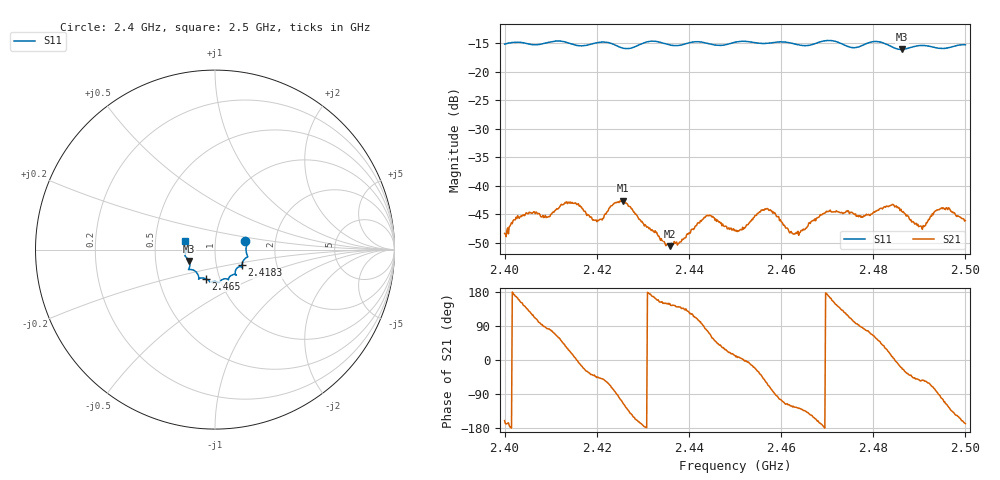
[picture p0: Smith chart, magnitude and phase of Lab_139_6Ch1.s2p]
# Hz S RI R 50
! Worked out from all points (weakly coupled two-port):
!   601 points, 2.4 GHz to 2.5 GHz, reference 50 ohm
!   highest |S21| = -42.62 dB at 2.4257 GHz (marker M1); lowest = -50.6 dB at 2.4358 GHz (marker M2)
!   lowest |S11| = -16.1 dB at 2.4862 GHz (marker M3), VSWR 1.37, Z = 37.2 - j4.82 ohm
!   |S11| at or under -10 dB: start of sweep to end of sweep
!   S12 and S22 are empty: the file has one direction only
!   S11 on the Smith chart (normalised r, x): 2.4 GHz: 1.40, +0.14; 2.4183 GHz: 1.33, -0.24; 2.465 GHz: 0.86, -0.28; 2.5 GHz: 0.71, +0.07
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2.4e9  0.169 0.0468  -0.00358 -0.00131  0 0  0 0
2.405167e9  0.175 0.0176  -0.0037 0.00431  0 0  0 0
2.4135e9  0.1756 -0.0444  0.00616 0.0038  0 0  0 0
2.416667e9  0.1546 -0.0683  0.00628 -0.00174  0 0  0 0
2.418333e9  0.1499 -0.0868  0.00457 -0.00305  0 0  0 0
2.420833e9  0.1525 -0.0996  0.00338 -0.0038  0 0  0 0
2.425667e9  0.1284 -0.0981  -0.00294 -0.00679  0 0  0 0
2.433333e9  0.1175 -0.1409  -0.00337 0.00131  0 0  0 0
2.435833e9  0.1018 -0.139  -0.00253 0.00151  0 0  0 0
2.444167e9  0.0676 -0.1637  0.00151 0.00529  0 0  0 0
2.45e9  0.0262 -0.1803  0.00401 0.00083  0 0  0 0
2.456667e9  -0.00663 -0.1773  0.00329 -0.00526  0 0  0 0
2.462333e9  -0.0325 -0.1752  -0.002 -0.0033  0 0  0 0
2.465e9  -0.0525 -0.1616  -0.00283 -0.00299  0 0  0 0
2.466667e9  -0.0715 -0.1579  -0.00405 -0.00274  0 0  0 0
2.470167e9  -0.0913 -0.1648  -0.00589 0.000946  0 0  0 0
2.477667e9  -0.1292 -0.1119  0.000367 0.00527  0 0  0 0
2.483333e9  -0.1413 -0.0968  0.0061 0.00241  0 0  0 0
2.486167e9  -0.1439 -0.0633  0.0056 -0.00208  0 0  0 0
2.490333e9  -0.1665 -0.0363  0.00254 -0.00364  0 0  0 0
2.495e9  -0.1603 0.00296  -0.00133 -0.00615  0 0  0 0
2.5e9  -0.1667 0.0467  -0.00483 -0.00105  0 0  0 0
